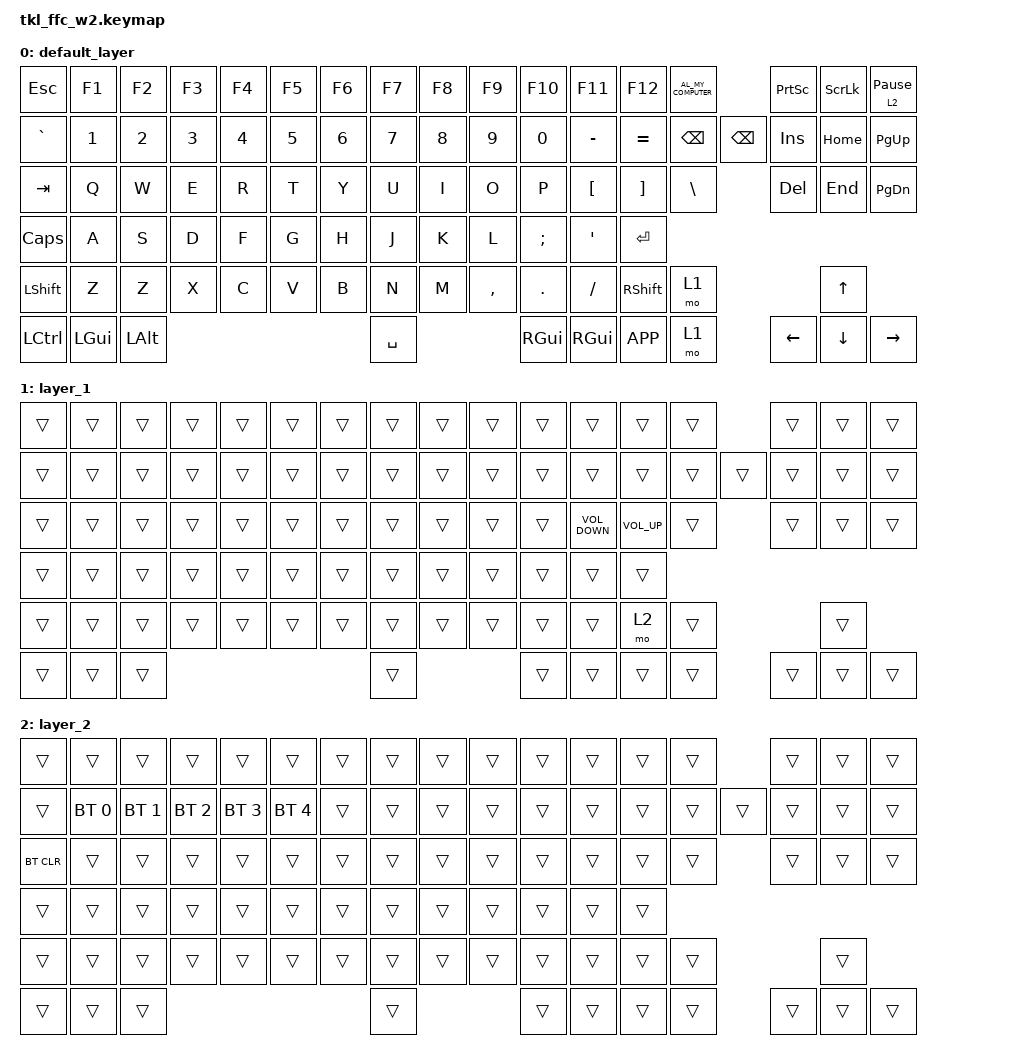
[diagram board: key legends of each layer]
/*
 * Copyright (c) 2022 The ZMK Contributors
 *
 * SPDX-License-Identifier: MIT
 */

#include <behaviors.dtsi>
#include <dt-bindings/zmk/bt.h>
#include <dt-bindings/zmk/keys.h>

/ {
    keymap {
        compatible = "zmk,keymap";

        default_layer {
            bindings = <
&kp ESCAPE  &kp F1    &kp F2    &kp F3  &kp F4  &kp F5  &kp F6  &kp F7     &kp F8  &kp F9     &kp F10        &kp F11    &kp F12    &kp C_AL_MY_COMPUTER            &kp PSCRN  &kp SLCK  &lt 2 PAUSE_BREAK
&kp GRAVE   &kp N1    &kp N2    &kp N3  &kp N4  &kp N5  &kp N6  &kp N7     &kp N8  &kp N9     &kp N0         &kp MINUS  &kp EQUAL  &kp BSPC              &kp BSPC  &kp INS    &kp HOME  &kp PG_UP
&kp TAB     &kp Q     &kp W     &kp E   &kp R   &kp T   &kp Y   &kp U      &kp I   &kp O      &kp P          &kp LBKT   &kp RBKT   &kp BSLH                        &kp DEL    &kp END   &kp PG_DN
&kp CAPS    &kp A     &kp S     &kp D   &kp F   &kp G   &kp H   &kp J      &kp K   &kp L      &kp SEMI       &kp SQT    &kp ENTER
&kp LSHFT   &kp Z     &kp Z     &kp X   &kp C   &kp V   &kp B   &kp N      &kp M   &kp COMMA  &kp DOT        &kp SLASH  &kp RSHFT  &mo 1                                      &kp UP
&kp LCTRL   &kp LGUI  &kp LALT                                  &kp SPACE                     &kp RIGHT_GUI  &kp RGUI   &kp K_APP  &mo 1                           &kp LEFT   &kp DOWN  &kp RIGHT
            >;
        };

        layer_1 {
            bindings = <
&trans  &trans  &trans  &trans  &trans  &trans  &trans  &trans  &trans  &trans  &trans  &trans             &trans           &trans          &trans  &trans  &trans
&trans  &trans  &trans  &trans  &trans  &trans  &trans  &trans  &trans  &trans  &trans  &trans             &trans           &trans  &trans  &trans  &trans  &trans
&trans  &trans  &trans  &trans  &trans  &trans  &trans  &trans  &trans  &trans  &trans  &kp C_VOLUME_DOWN  &kp C_VOLUME_UP  &trans          &trans  &trans  &trans
&trans  &trans  &trans  &trans  &trans  &trans  &trans  &trans  &trans  &trans  &trans  &trans             &trans
&trans  &trans  &trans  &trans  &trans  &trans  &trans  &trans  &trans  &trans  &trans  &trans             &mo 2            &trans                  &trans
&trans  &trans  &trans                                  &trans                  &trans  &trans             &trans           &trans          &trans  &trans  &trans
            >;
        };

        layer_2 {
            bindings = <
&trans      &trans        &trans        &trans        &trans        &trans        &trans  &trans  &trans  &trans  &trans  &trans  &trans  &trans          &trans  &trans  &trans
&trans      &bt BT_SEL 0  &bt BT_SEL 1  &bt BT_SEL 2  &bt BT_SEL 3  &bt BT_SEL 4  &trans  &trans  &trans  &trans  &trans  &trans  &trans  &trans  &trans  &trans  &trans  &trans
&bt BT_CLR  &trans        &trans        &trans        &trans        &trans        &trans  &trans  &trans  &trans  &trans  &trans  &trans  &trans          &trans  &trans  &trans
&trans      &trans        &trans        &trans        &trans        &trans        &trans  &trans  &trans  &trans  &trans  &trans  &trans
&trans      &trans        &trans        &trans        &trans        &trans        &trans  &trans  &trans  &trans  &trans  &trans  &trans  &trans                  &trans
&trans      &trans        &trans                                                          &trans                  &trans  &trans  &trans  &trans          &trans  &trans  &trans
            >;
        };
    };

    conditional_layers { compatible = "zmk,conditional-layers"; };
};
